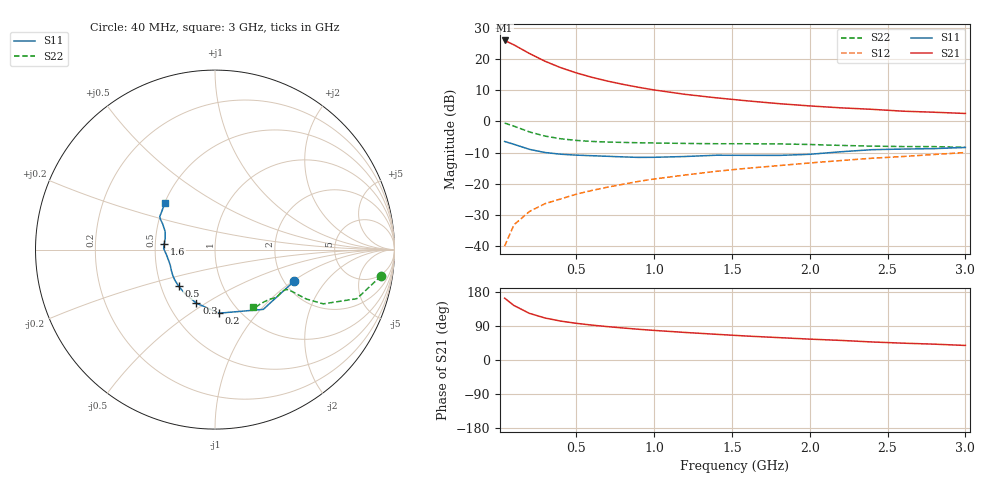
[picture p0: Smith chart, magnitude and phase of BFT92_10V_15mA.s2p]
! Filename:  BFT92I.S2P  Version:  2.0
! Philips part #: BFT92  Date: May 1990
! Bias condition: Vce=-10V, Ic=-15mA
#  MHz  S  MA  R  50
! Freq  S11  S21  S12  S22  !GUM [dB]
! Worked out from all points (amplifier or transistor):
!   21 points, 40 MHz to 3 GHz, reference 50 ohm
!   highest |S21| = 25.9 dB at 40 MHz (marker M1)
!   |S21| within 3 dB of that: start of sweep to 157.2 MHz
!   unconditionally stable (mu >= 1): 664.9 MHz to 2.327 GHz
!   at 300 MHz: K = 0.77, MSG = 22.8 dB, |S12| = -26.4 dB
!   at 1 GHz: K = 1.06, MAG = 12.8 dB, |S12| = -18.5 dB
!   at 3 GHz: K = 0.94, MSG = 6.3 dB, |S12| = -10.0 dB
!   S11 on the Smith chart (normalised r, x): 40 MHz: 2.26, -1.02; 200 MHz: 0.81, -0.66; 300 MHz: 0.69, -0.46; 500 MHz: 0.62, -0.27; 1.6 GHz: 0.56, +0.04; 3 GHz: 0.50, +0.30
40  0.475 -21.7  19.7 163.2  0.01 81.5  0.937 -9.0
100  0.428 -51.1  16.75 143.8  0.022 72.4  0.836 -19.1
200  0.355 -86.3  12.16 123.0  0.036 67.0  0.675 -26.6
300  0.316 -109.2  9.143 110.8  0.048 66.7  0.579 -28.4
400  0.297 -124.4  7.231 102.7  0.057 67.3  0.525 -28.5
500  0.287 -135.0  5.962 96.8  0.068 68.2  0.494 -28.5
600  0.281 -143.0  5.069 92.1  0.078 69.1  0.476 -28.6
700  0.275 -149.2  4.409 88.1  0.088 69.7  0.465 -28.8
800  0.269 -155.1  3.904 84.5  0.098 70.2  0.459 -29.1
900  0.264 -160.7  3.504 81.1  0.109 70.3  0.453 -29.4
1000  0.265 -165.8  3.177 78.1  0.119 70.4  0.449 -30.1
1200  0.273 -174.7  2.7 72.7  0.138 70.3  0.442 -31.6
1400  0.286 179.0  2.375 67.8  0.158 70.2  0.437 -33.6
1600  0.285 174.0  2.123 63.1  0.177 69.7  0.437 -35.5
1800  0.284 168.0  1.918 59.1  0.195 69.4  0.434 -37.6
2000  0.296 159.9  1.762 55.1  0.215 68.8  0.425 -39.6
2200  0.325 153.8  1.642 51.7  0.235 68.2  0.411 -42.3
2400  0.351 150.6  1.554 47.6  0.256 67.4  0.4 -46.5
2600  0.359 148.9  1.451 44.4  0.273 66.7  0.394 -50.8
2800  0.365 144.1  1.396 41.8  0.294 66.5  0.393 -53.9
3000  0.381 137.2  1.334 38.4  0.316 65.6  0.382 -56.7
